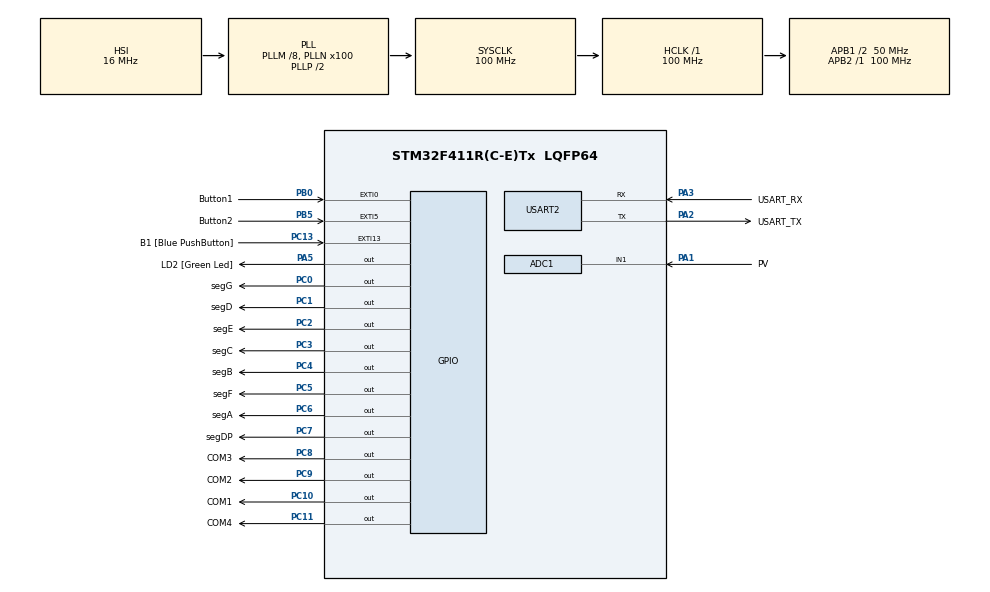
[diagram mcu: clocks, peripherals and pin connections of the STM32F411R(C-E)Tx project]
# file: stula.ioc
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ADC1.Channel-0\#ChannelRegularConversion=ADC_CHANNEL_1
ADC1.Channel-1\#ChannelRegularConversion=ADC_CHANNEL_1
ADC1.Channel-2\#ChannelRegularConversion=ADC_CHANNEL_1
ADC1.ContinuousConvMode=ENABLE
ADC1.ExternalTrigConv=ADC_EXTERNALTRIGCONV_T2_TRGO
ADC1.NbrOfConversion=3
ADC1.NbrOfConversionFlag=1
ADC1.Rank-0\#ChannelRegularConversion=1
ADC1.Rank-1\#ChannelRegularConversion=2
ADC1.Rank-2\#ChannelRegularConversion=3
ADC1.SamplingTime-0\#ChannelRegularConversion=ADC_SAMPLETIME_480CYCLES
ADC1.SamplingTime-1\#ChannelRegularConversion=ADC_SAMPLETIME_480CYCLES
ADC1.SamplingTime-2\#ChannelRegularConversion=ADC_SAMPLETIME_480CYCLES
ADC1.ScanConvMode=ENABLE
ADC1.master=1
Dma.ADC1.0.Direction=DMA_PERIPH_TO_MEMORY
Dma.ADC1.0.FIFOMode=DMA_FIFOMODE_DISABLE
Dma.ADC1.0.Instance=DMA2_Stream0
Dma.ADC1.0.MemDataAlignment=DMA_MDATAALIGN_HALFWORD
Dma.ADC1.0.MemInc=DMA_MINC_ENABLE
Dma.ADC1.0.Mode=DMA_CIRCULAR
Dma.ADC1.0.PeriphDataAlignment=DMA_PDATAALIGN_HALFWORD
Dma.ADC1.0.PeriphInc=DMA_PINC_DISABLE
Dma.ADC1.0.Priority=DMA_PRIORITY_LOW
Dma.Request0=ADC1
Mcu.Family=STM32F4
Mcu.Name=STM32F411R(C-E)Tx
Mcu.Package=LQFP64
NVIC.ADC_IRQn=true\:0\:0\:false\:false\:true\:true\:true\:true
NVIC.DMA2_Stream0_IRQn=true\:0\:0\:false\:false\:true\:false\:true\:true
NVIC.EXTI0_IRQn=true\:0\:0\:false\:false\:true\:true\:true\:true
NVIC.EXTI9_5_IRQn=true\:0\:0\:false\:false\:true\:true\:true\:true
NVIC.PriorityGroup=NVIC_PRIORITYGROUP_0
NVIC.TIM1_UP_TIM10_IRQn=true\:0\:0\:false\:false\:true\:true\:true\:true
NVIC.TIM4_IRQn=true\:0\:0\:true\:false\:true\:true\:true\:true
PA1.GPIO_Label=PV
PA1.Signal=ADCx_IN1
PA13.GPIO_Label=TMS
PA13.Mode=Serial_Wire
PA13.Signal=SYS_JTMS-SWDIO
PA14.GPIO_Label=TCK
PA14.Mode=Serial_Wire
PA14.Signal=SYS_JTCK-SWCLK
PA2.GPIO_Label=USART_TX
PA2.Mode=Asynchronous
PA2.Signal=USART2_TX
PA3.GPIO_Label=USART_RX
PA3.Mode=Asynchronous
PA3.Signal=USART2_RX
PA5.GPIO_Label=LD2 [Green Led]
PA5.Signal=GPIO_Output
PB0.GPIO_Label=Button1
PB0.GPIO_ModeDefaultEXTI=GPIO_MODE_IT_FALLING
PB0.GPIO_PuPd=GPIO_PULLUP
PB0.Signal=GPXTI0
PB3.GPIO_Label=SWO
PB3.Signal=SYS_JTDO-SWO
PB5.GPIO_Label=Button2
PB5.GPIO_ModeDefaultEXTI=GPIO_MODE_IT_FALLING
PB5.GPIO_PuPd=GPIO_PULLUP
PB5.Signal=GPXTI5
PC0.GPIO_Label=segG
PC0.Signal=GPIO_Output
PC1.GPIO_Label=segD
PC1.Signal=GPIO_Output
PC10.GPIO_Label=COM1
PC10.Signal=GPIO_Output
PC11.GPIO_Label=COM4
PC11.Signal=GPIO_Output
PC13-ANTI_TAMP.GPIO_Label=B1 [Blue PushButton]
PC13-ANTI_TAMP.GPIO_ModeDefaultEXTI=GPIO_MODE_IT_FALLING
PC13-ANTI_TAMP.Signal=GPXTI13
PC14-OSC32_IN.Mode=LSE-External-Oscillator
PC14-OSC32_IN.Signal=RCC_OSC32_IN
PC15-OSC32_OUT.Mode=LSE-External-Oscillator
PC15-OSC32_OUT.Signal=RCC_OSC32_OUT
PC2.GPIO_Label=segE
PC2.Signal=GPIO_Output
PC3.GPIO_Label=segC
PC3.Signal=GPIO_Output
PC4.GPIO_Label=segB
PC4.Signal=GPIO_Output
PC5.GPIO_Label=segF
PC5.Signal=GPIO_Output
PC6.GPIO_Label=segA
PC6.Signal=GPIO_Output
PC7.GPIO_Label=segDP
PC7.Signal=GPIO_Output
PC8.GPIO_Label=COM3
PC8.Signal=GPIO_Output
PC9.GPIO_Label=COM2
PC9.Signal=GPIO_Output
PH0\ -\ OSC_IN.Mode=HSE-External-Clock-Source
PH0\ -\ OSC_IN.Signal=RCC_OSC_IN
PH1\ -\ OSC_OUT.Mode=HSE-External-Clock-Source
PH1\ -\ OSC_OUT.Signal=RCC_OSC_OUT
ProjectManager.HeapSize=0x200
ProjectManager.StackSize=0x400
ProjectManager.TargetToolchain=STM32CubeIDE
RCC.48MHZClocksFreq_Value=50000000
RCC.AHBFreq_Value=100000000
RCC.APB1CLKDivider=RCC_HCLK_DIV2
RCC.APB1Freq_Value=50000000
RCC.APB1TimFreq_Value=100000000
RCC.APB2Freq_Value=100000000
RCC.APB2TimFreq_Value=100000000
RCC.CortexFreq_Value=100000000
RCC.FLatency-AdvancedSettings=FLASH_LATENCY_3
RCC.HCLKFreq_Value=100000000
RCC.HSE_VALUE=8000000
RCC.HSI_VALUE=16000000
RCC.PLLM=8
RCC.PLLN=100
RCC.SYSCLKFreq_VALUE=100000000
RCC.SYSCLKSource=RCC_SYSCLKSOURCE_PLLCLK
RCC.VCOOutputFreq_Value=200000000
SH.ADCx_IN1.0=ADC1_IN1,IN1
TIM1.Period=1000
TIM1.Prescaler=100
TIM2.Period=1999
TIM2.Prescaler=99
TIM2.TIM_MasterOutputTrigger=TIM_TRGO_UPDATE
TIM4.CounterMode=TIM_COUNTERMODE_UP
TIM4.Period=1999
TIM4.Prescaler=99
USART2.VirtualMode=VM_ASYNC
VP_ADC1_TempSens_Input.Mode=IN-TempSens
VP_ADC1_Vref_Input.Mode=IN-Vrefint
VP_TIM1_VS_ClockSourceINT.Mode=Internal
VP_TIM2_VS_ClockSourceINT.Mode=Internal
VP_TIM4_VS_ClockSourceINT.Mode=Internal
board=NUCLEO-F411RE

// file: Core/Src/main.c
/* USER CODE BEGIN Header */
/**
  ******************************************************************************
  * @file           : main.c
  * @brief          : Main program body
  ******************************************************************************
  * @attention
  *
  * Copyright (c) 2023 STMicroelectronics.
  * All rights reserved.
  *
  * This software is licensed under terms that can be found in the LICENSE file
  * in the root directory of this software component.
  * If no LICENSE file comes with this software, it is provided AS-IS.
  *
  ******************************************************************************
  */
/* USER CODE END Header */
#include "main.h"
#include "stdbool.h"

/* USER CODE BEGIN PM */
#define ARM_CM_DEMCR (*(uint32_t *)0xE000EDFC)
#define ARM_CM_DWT_CTRL (*(uint32_t *)0xE0001000)
#define ARM_CM_DWT_CYCCNT (*(uint32_t *)0xE0001004)
#define CPU_CLOCK_FREQ ((double)100000000)
/* USER CODE END PM */

ADC_HandleTypeDef hadc1;
DMA_HandleTypeDef hdma_adc1;

TIM_HandleTypeDef htim1;
TIM_HandleTypeDef htim2;
TIM_HandleTypeDef htim4;

UART_HandleTypeDef huart2;

void SystemClock_Config(void);
static void MX_GPIO_Init(void);
static void MX_DMA_Init(void);
static void MX_USART2_UART_Init(void);
static void MX_TIM1_Init(void);
static void MX_ADC1_Init(void);
static void MX_TIM4_Init(void);
static void MX_TIM2_Init(void);

/* USER CODE BEGIN 0 */
volatile uint32_t TimerCnt;
static uint8_t DisplayCOM = 0;
static uint8_t DisplayNumbers[4] = {-1, -1, -1, -1};
int ButtTime = 0;

uint16_t ADCDMABuff[3];
#define BUFFER_LEN (3000)
uint32_t BufferT[BUFFER_LEN];
uint16_t BufferAD[BUFFER_LEN];
uint32_t idx = 0;
uint32_t max_idx = -1;

bool IS_FULL = false;
bool READ_DATA = false;

void set_number(){
	switch(DisplayCOM){
	case 0:
		HAL_GPIO_WritePin(GPIOC, COM1_Pin, GPIO_PIN_RESET);
		HAL_GPIO_WritePin(GPIOC, COM2_Pin, GPIO_PIN_SET);
		HAL_GPIO_WritePin(GPIOC, COM3_Pin, GPIO_PIN_SET);
		HAL_GPIO_WritePin(GPIOC, COM4_Pin, GPIO_PIN_SET);
		DisplayCOM = 1;
		break;
	case 1:
		HAL_GPIO_WritePin(GPIOC, COM1_Pin, GPIO_PIN_SET);
		HAL_GPIO_WritePin(GPIOC, COM2_Pin, GPIO_PIN_RESET);
		HAL_GPIO_WritePin(GPIOC, COM3_Pin, GPIO_PIN_SET);
		HAL_GPIO_WritePin(GPIOC, COM4_Pin, GPIO_PIN_SET);
		DisplayCOM = 2;
		break;
	case 2:
		HAL_GPIO_WritePin(GPIOC, COM1_Pin, GPIO_PIN_SET);
		HAL_GPIO_WritePin(GPIOC, COM2_Pin, GPIO_PIN_SET);
		HAL_GPIO_WritePin(GPIOC, COM3_Pin, GPIO_PIN_RESET);
		HAL_GPIO_WritePin(GPIOC, COM4_Pin, GPIO_PIN_SET);
		DisplayCOM = 3;
		break;
	case 3:
		HAL_GPIO_WritePin(GPIOC, COM1_Pin, GPIO_PIN_SET);
		HAL_GPIO_WritePin(GPIOC, COM2_Pin, GPIO_PIN_SET);
		HAL_GPIO_WritePin(GPIOC, COM3_Pin, GPIO_PIN_SET);
		HAL_GPIO_WritePin(GPIOC, COM4_Pin, GPIO_PIN_RESET);
		DisplayCOM = 0;
		break;
	}

	switch(DisplayNumbers[DisplayCOM]){
	case 0:
		HAL_GPIO_WritePin(GPIOC, segA_Pin, GPIO_PIN_SET);
		HAL_GPIO_WritePin(GPIOC, segB_Pin, GPIO_PIN_SET);
		HAL_GPIO_WritePin(GPIOC, segC_Pin, GPIO_PIN_SET);
		HAL_GPIO_WritePin(GPIOC, segD_Pin, GPIO_PIN_SET);
		HAL_GPIO_WritePin(GPIOC, segE_Pin, GPIO_PIN_SET);
		HAL_GPIO_WritePin(GPIOC, segF_Pin, GPIO_PIN_SET);
		HAL_GPIO_WritePin(GPIOC, segG_Pin, GPIO_PIN_RESET);
		HAL_GPIO_WritePin(GPIOC, segDP_Pin, GPIO_PIN_RESET);
		break;
	case 1:
		HAL_GPIO_WritePin(GPIOC, segA_Pin, GPIO_PIN_RESET);
		HAL_GPIO_WritePin(GPIOC, segB_Pin, GPIO_PIN_SET);
		HAL_GPIO_WritePin(GPIOC, segC_Pin, GPIO_PIN_SET);
		HAL_GPIO_WritePin(GPIOC, segD_Pin, GPIO_PIN_RESET);
		HAL_GPIO_WritePin(GPIOC, segE_Pin, GPIO_PIN_RESET);
		HAL_GPIO_WritePin(GPIOC, segF_Pin, GPIO_PIN_RESET);
		HAL_GPIO_WritePin(GPIOC, segG_Pin, GPIO_PIN_RESET);
		HAL_GPIO_WritePin(GPIOC, segDP_Pin, GPIO_PIN_RESET);
		break;
	case 2:
		HAL_GPIO_WritePin(GPIOC, segA_Pin, GPIO_PIN_SET);
		HAL_GPIO_WritePin(GPIOC, segB_Pin, GPIO_PIN_SET);
		HAL_GPIO_WritePin(GPIOC, segC_Pin, GPIO_PIN_RESET);
		HAL_GPIO_WritePin(GPIOC, segD_Pin, GPIO_PIN_SET);
		HAL_GPIO_WritePin(GPIOC, segE_Pin, GPIO_PIN_SET);
		HAL_GPIO_WritePin(GPIOC, segF_Pin, GPIO_PIN_RESET);
		HAL_GPIO_WritePin(GPIOC, segG_Pin, GPIO_PIN_SET);
		HAL_GPIO_WritePin(GPIOC, segDP_Pin, GPIO_PIN_RESET);
		break;
	case 3:
		HAL_GPIO_WritePin(GPIOC, segA_Pin, GPIO_PIN_SET);
		HAL_GPIO_WritePin(GPIOC, segB_Pin, GPIO_PIN_SET);
		HAL_GPIO_WritePin(GPIOC, segC_Pin, GPIO_PIN_SET);
		HAL_GPIO_WritePin(GPIOC, segD_Pin, GPIO_PIN_SET);
		HAL_GPIO_WritePin(GPIOC, segE_Pin, GPIO_PIN_RESET);
		HAL_GPIO_WritePin(GPIOC, segF_Pin, GPIO_PIN_RESET);
		HAL_GPIO_WritePin(GPIOC, segG_Pin, GPIO_PIN_SET);
		HAL_GPIO_WritePin(GPIOC, segDP_Pin, GPIO_PIN_RESET);
		break;
	case 4:
		HAL_GPIO_WritePin(GPIOC, segA_Pin, GPIO_PIN_RESET);
		HAL_GPIO_WritePin(GPIOC, segB_Pin, GPIO_PIN_SET);
		HAL_GPIO_WritePin(GPIOC, segC_Pin, GPIO_PIN_SET);
		HAL_GPIO_WritePin(GPIOC, segD_Pin, GPIO_PIN_RESET);
		HAL_GPIO_WritePin(GPIOC, segE_Pin, GPIO_PIN_RESET);
		HAL_GPIO_WritePin(GPIOC, segF_Pin, GPIO_PIN_SET);
		HAL_GPIO_WritePin(GPIOC, segG_Pin, GPIO_PIN_SET);
		HAL_GPIO_WritePin(GPIOC, segDP_Pin, GPIO_PIN_RESET);
		break;
	case 5:
		HAL_GPIO_WritePin(GPIOC, segA_Pin, GPIO_PIN_SET);
		HAL_GPIO_WritePin(GPIOC, segB_Pin, GPIO_PIN_RESET);
		HAL_GPIO_WritePin(GPIOC, segC_Pin, GPIO_PIN_SET);
		HAL_GPIO_WritePin(GPIOC, segD_Pin, GPIO_PIN_SET);
		HAL_GPIO_WritePin(GPIOC, segE_Pin, GPIO_PIN_RESET);
		HAL_GPIO_WritePin(GPIOC, segF_Pin, GPIO_PIN_SET);
		HAL_GPIO_WritePin(GPIOC, segG_Pin, GPIO_PIN_SET);
		HAL_GPIO_WritePin(GPIOC, segDP_Pin, GPIO_PIN_RESET);
		break;
	case 6:
		HAL_GPIO_WritePin(GPIOC, segA_Pin, GPIO_PIN_SET);
		HAL_GPIO_WritePin(GPIOC, segB_Pin, GPIO_PIN_RESET);
		HAL_GPIO_WritePin(GPIOC, segC_Pin, GPIO_PIN_SET);
		HAL_GPIO_WritePin(GPIOC, segD_Pin, GPIO_PIN_SET);
		HAL_GPIO_WritePin(GPIOC, segE_Pin, GPIO_PIN_SET);
		HAL_GPIO_WritePin(GPIOC, segF_Pin, GPIO_PIN_SET);
		HAL_GPIO_WritePin(GPIOC, segG_Pin, GPIO_PIN_SET);
		HAL_GPIO_WritePin(GPIOC, segDP_Pin, GPIO_PIN_RESET);
		break;
	case 7:
		HAL_GPIO_WritePin(GPIOC, segA_Pin, GPIO_PIN_SET);
		HAL_GPIO_WritePin(GPIOC, segB_Pin, GPIO_PIN_SET);
		HAL_GPIO_WritePin(GPIOC, segC_Pin, GPIO_PIN_SET);
		HAL_GPIO_WritePin(GPIOC, segD_Pin, GPIO_PIN_RESET);
		HAL_GPIO_WritePin(GPIOC, segE_Pin, GPIO_PIN_RESET);
		HAL_GPIO_WritePin(GPIOC, segF_Pin, GPIO_PIN_RESET);
		HAL_GPIO_WritePin(GPIOC, segG_Pin, GPIO_PIN_RESET);
		HAL_GPIO_WritePin(GPIOC, segDP_Pin, GPIO_PIN_RESET);
		break;
	case 8:
		HAL_GPIO_WritePin(GPIOC, segA_Pin, GPIO_PIN_SET);
		HAL_GPIO_WritePin(GPIOC, segB_Pin, GPIO_PIN_SET);
		HAL_GPIO_WritePin(GPIOC, segC_Pin, GPIO_PIN_SET);
		HAL_GPIO_WritePin(GPIOC, segD_Pin, GPIO_PIN_SET);
		HAL_GPIO_WritePin(GPIOC, segE_Pin, GPIO_PIN_SET);
		HAL_GPIO_WritePin(GPIOC, segF_Pin, GPIO_PIN_SET);
		HAL_GPIO_WritePin(GPIOC, segG_Pin, GPIO_PIN_SET);
		HAL_GPIO_WritePin(GPIOC, segDP_Pin, GPIO_PIN_RESET);
		break;
	case 9:
		HAL_GPIO_WritePin(GPIOC, segA_Pin, GPIO_PIN_SET);
		HAL_GPIO_WritePin(GPIOC, segB_Pin, GPIO_PIN_SET);
		HAL_GPIO_WritePin(GPIOC, segC_Pin, GPIO_PIN_SET);
		HAL_GPIO_WritePin(GPIOC, segD_Pin, GPIO_PIN_SET);
		HAL_GPIO_WritePin(GPIOC, segE_Pin, GPIO_PIN_RESET);
		HAL_GPIO_WritePin(GPIOC, segF_Pin, GPIO_PIN_SET);
		HAL_GPIO_WritePin(GPIOC, segG_Pin, GPIO_PIN_SET);
		HAL_GPIO_WritePin(GPIOC, segDP_Pin, GPIO_PIN_RESET);
		break;
	default:
		HAL_GPIO_WritePin(GPIOC, segA_Pin, GPIO_PIN_RESET);
		HAL_GPIO_WritePin(GPIOC, segB_Pin, GPIO_PIN_RESET);
		HAL_GPIO_WritePin(GPIOC, segC_Pin, GPIO_PIN_RESET);
		HAL_GPIO_WritePin(GPIOC, segD_Pin, GPIO_PIN_RESET);
		HAL_GPIO_WritePin(GPIOC, segE_Pin, GPIO_PIN_RESET);
		HAL_GPIO_WritePin(GPIOC, segF_Pin, GPIO_PIN_RESET);
		HAL_GPIO_WritePin(GPIOC, segG_Pin, GPIO_PIN_RESET);
		HAL_GPIO_WritePin(GPIOC, segDP_Pin, GPIO_PIN_RESET);
	}
}

void display(uint8_t tab[]){
	DisplayCOM = 0;
	for (int i=0; i < 4; i++){
		DisplayNumbers[i] = tab[i];
	}

}

void display_int(int num){
	uint8_t tab [4];
	for (int i=3; i>=0; i--){
		tab[i] = num % 10;
		num = num / 10;
	}
	display(tab);
}

void HAL_TIM_PeriodElapsedCallback(TIM_HandleTypeDef *htim){

	if( htim == &htim1 ){
		set_number();
	}
	else if( htim == &htim4 ) {
		if (TimerCnt >= 100){

			if (READ_DATA){
				display_int(BufferAD[idx-1]);
			}
			else{
				uint8_t tab[4] = {-1, -1, -1, -1};
				(display(tab));
			}

			TimerCnt = 0;
		}
		else
			TimerCnt++;
	}
}

void button_click(uint8_t button_number){
	int tick = HAL_GetTick();
	if (tick-ButtTime > 200){
		ButtTime = tick;
		if (button_number == 0){
			if (DisplayNumbers[1] == 9){
				DisplayNumbers[0]++;
				DisplayNumbers[1] = 0;
			}
			else{
				DisplayNumbers[1]++;
			}
		}
		else {
			if (DisplayNumbers[3] == 9){
				DisplayNumbers[2]++;
				DisplayNumbers[3] = 0;
			}
			else{
				DisplayNumbers[3]++;
			}
		}
	}
}

void HAL_GPIO_EXTI_Callback(uint16_t GPIO_Pin){
	if(GPIO_Pin == Button1_Pin){
		READ_DATA = true;
		idx = 0;
//		button_click(0);
//		//printf("button1\r\n");
	}
	if(GPIO_Pin == Button2_Pin){
		READ_DATA = false;
		max_idx = idx;
		IS_FULL = true;
//		button_click(1);
//		//printf("button2\r\n");
	}
}

void HAL_ADC_ConvCpltCallback(ADC_HandleTypeDef* hadc) {
	if (READ_DATA){
		int WYNIK_ADC = HAL_ADC_GetValue(&hadc1);
		int ADCRes = (uint16_t)(3.3 * (double)WYNIK_ADC / 4.095); // [mV]
		//display_int(ADCRes);

		BufferT[idx] = ARM_CM_DWT_CYCCNT;
		BufferAD[idx] = ADCRes;

		idx++;
		if (idx == BUFFER_LEN-1){
			IS_FULL = 1;
			max_idx = idx;
			READ_DATA = false;
		}
	}
}

int __io_putchar(int ch) {
	HAL_UART_Transmit(&huart2, (uint8_t *)&ch, 1, 0xFFFF);
	return ch;
}

/* USER CODE END 0 */

int main(void)
{

  /* MCU Configuration--------------------------------------------------------*/

  /* Reset of all peripherals, Initializes the Flash interface and the Systick. */
  HAL_Init();

  /* USER CODE BEGIN Init */
  if (ARM_CM_DWT_CTRL != 0) { // See if DWT is available
	  ARM_CM_DEMCR |= 1 << 24; // Set bit 24
	  ARM_CM_DWT_CYCCNT = 0;
	  ARM_CM_DWT_CTRL |= 1 << 0; // Set bit 0
  }
  /* USER CODE END Init */

  /* Configure the system clock */
  SystemClock_Config();

  /* Initialize all configured peripherals */
  MX_GPIO_Init();
  MX_DMA_Init();
  MX_USART2_UART_Init();
  MX_TIM1_Init();
  MX_ADC1_Init();
  MX_TIM4_Init();
  MX_TIM2_Init();
  /* USER CODE BEGIN 2 */
  HAL_TIM_Base_Start_IT(&htim1);
  //HAL_TIM_Base_Start(&htim2);
  HAL_TIM_Base_Start_IT(&htim4);
  //HAL_ADC_Start_IT(&hadc1);
  HAL_ADC_Start_DMA(&hadc1, (uint32_t *)ADCDMABuff, 3);
  /* USER CODE END 2 */

  /* Infinite loop */
  while (1)
  {

    /* USER CODE BEGIN 3 */

//	  if (IS_FULL){
//		  for (int i = 0; i < BUFFER_LEN; i++){
//				printf("%li %i, \r\n", BufferT[i], BufferAD[i]);
//		  }
//		  IS_FULL = false;
//	  }
	  if (IS_FULL){
		  for (int i = 0; i < max_idx; i++){
				printf("%li %i, \r\n", BufferT[i], BufferAD[i]);
		  }
		  IS_FULL = false;
		  max_idx = -1;
	  }
//	  int Start = ARM_CM_DWT_CYCCNT;
//	  HAL_Delay(1000);
//	  int Stop = ARM_CM_DWT_CYCCNT;
//	  printf("HAL_Delay(1000): %d [us]\r\n", (unsigned)(1e6*((double)Stop-(double)Start)/CPU_CLOCK_FREQ) );
  }
  /* USER CODE END 3 */
}

void SystemClock_Config(void)
{
  RCC_OscInitTypeDef RCC_OscInitStruct = {0};
  RCC_ClkInitTypeDef RCC_ClkInitStruct = {0};

  /** Configure the main internal regulator output voltage
  */
  __HAL_RCC_PWR_CLK_ENABLE();
  __HAL_PWR_VOLTAGESCALING_CONFIG(PWR_REGULATOR_VOLTAGE_SCALE1);

  /** Initializes the RCC Oscillators according to the specified parameters
  * in the RCC_OscInitTypeDef structure.
  */
  RCC_OscInitStruct.OscillatorType = RCC_OSCILLATORTYPE_HSI;
  RCC_OscInitStruct.HSIState = RCC_HSI_ON;
  RCC_OscInitStruct.HSICalibrationValue = RCC_HSICALIBRATION_DEFAULT;
  RCC_OscInitStruct.PLL.PLLState = RCC_PLL_ON;
  RCC_OscInitStruct.PLL.PLLSource = RCC_PLLSOURCE_HSI;
  RCC_OscInitStruct.PLL.PLLM = 8;
  RCC_OscInitStruct.PLL.PLLN = 100;
  RCC_OscInitStruct.PLL.PLLP = RCC_PLLP_DIV2;
  RCC_OscInitStruct.PLL.PLLQ = 4;
  if (HAL_RCC_OscConfig(&RCC_OscInitStruct) != HAL_OK)
  {
    Error_Handler();
  }

  /** Initializes the CPU, AHB and APB buses clocks
  */
  RCC_ClkInitStruct.ClockType = RCC_CLOCKTYPE_HCLK|RCC_CLOCKTYPE_SYSCLK
                              |RCC_CLOCKTYPE_PCLK1|RCC_CLOCKTYPE_PCLK2;
  RCC_ClkInitStruct.SYSCLKSource = RCC_SYSCLKSOURCE_PLLCLK;
  RCC_ClkInitStruct.AHBCLKDivider = RCC_SYSCLK_DIV1;
  RCC_ClkInitStruct.APB1CLKDivider = RCC_HCLK_DIV2;
  RCC_ClkInitStruct.APB2CLKDivider = RCC_HCLK_DIV1;

  if (HAL_RCC_ClockConfig(&RCC_ClkInitStruct, FLASH_LATENCY_3) != HAL_OK)
  {
    Error_Handler();
  }
}

static void MX_ADC1_Init(void)
{

  ADC_ChannelConfTypeDef sConfig = {0};

  /** Configure the global features of the ADC (Clock, Resolution, Data Alignment and number of conversion)
  */
  hadc1.Instance = ADC1;
  hadc1.Init.ClockPrescaler = ADC_CLOCK_SYNC_PCLK_DIV4;
  hadc1.Init.Resolution = ADC_RESOLUTION_12B;
  hadc1.Init.ScanConvMode = ENABLE;
  hadc1.Init.ContinuousConvMode = ENABLE;
  hadc1.Init.DiscontinuousConvMode = DISABLE;
  hadc1.Init.ExternalTrigConvEdge = ADC_EXTERNALTRIGCONVEDGE_RISING;
  hadc1.Init.ExternalTrigConv = ADC_EXTERNALTRIGCONV_T2_TRGO;
  hadc1.Init.DataAlign = ADC_DATAALIGN_RIGHT;
  hadc1.Init.NbrOfConversion = 3;
  hadc1.Init.DMAContinuousRequests = DISABLE;
  hadc1.Init.EOCSelection = ADC_EOC_SINGLE_CONV;
  if (HAL_ADC_Init(&hadc1) != HAL_OK)
  {
    Error_Handler();
  }

  /** Configure for the selected ADC regular channel its corresponding rank in the sequencer and its sample time.
  */
  sConfig.Channel = ADC_CHANNEL_1;
  sConfig.Rank = 1;
  sConfig.SamplingTime = ADC_SAMPLETIME_480CYCLES;
  if (HAL_ADC_ConfigChannel(&hadc1, &sConfig) != HAL_OK)
  {
    Error_Handler();
  }

  /** Configure for the selected ADC regular channel its corresponding rank in the sequencer and its sample time.
  */
  sConfig.Rank = 2;
  if (HAL_ADC_ConfigChannel(&hadc1, &sConfig) != HAL_OK)
  {
    Error_Handler();
  }

  /** Configure for the selected ADC regular channel its corresponding rank in the sequencer and its sample time.
  */
  sConfig.Rank = 3;
  if (HAL_ADC_ConfigChannel(&hadc1, &sConfig) != HAL_OK)
  {
    Error_Handler();
  }

}

static void MX_TIM1_Init(void)
{

  TIM_ClockConfigTypeDef sClockSourceConfig = {0};
  TIM_MasterConfigTypeDef sMasterConfig = {0};

  htim1.Instance = TIM1;
  htim1.Init.Prescaler = 100;
  htim1.Init.CounterMode = TIM_COUNTERMODE_UP;
  htim1.Init.Period = 1000;
  htim1.Init.ClockDivision = TIM_CLOCKDIVISION_DIV1;
  htim1.Init.RepetitionCounter = 0;
  htim1.Init.AutoReloadPreload = TIM_AUTORELOAD_PRELOAD_DISABLE;
  if (HAL_TIM_Base_Init(&htim1) != HAL_OK)
  {
    Error_Handler();
  }
  sClockSourceConfig.ClockSource = TIM_CLOCKSOURCE_INTERNAL;
  if (HAL_TIM_ConfigClockSource(&htim1, &sClockSourceConfig) != HAL_OK)
  {
    Error_Handler();
  }
  sMasterConfig.MasterOutputTrigger = TIM_TRGO_RESET;
  sMasterConfig.MasterSlaveMode = TIM_MASTERSLAVEMODE_DISABLE;
  if (HAL_TIMEx_MasterConfigSynchronization(&htim1, &sMasterConfig) != HAL_OK)
  {
    Error_Handler();
  }

}

static void MX_TIM2_Init(void)
{

  TIM_ClockConfigTypeDef sClockSourceConfig = {0};
  TIM_MasterConfigTypeDef sMasterConfig = {0};

  htim2.Instance = TIM2;
  htim2.Init.Prescaler = 99;
  htim2.Init.CounterMode = TIM_COUNTERMODE_UP;
  htim2.Init.Period = 1999;
  htim2.Init.ClockDivision = TIM_CLOCKDIVISION_DIV1;
  htim2.Init.AutoReloadPreload = TIM_AUTORELOAD_PRELOAD_DISABLE;
  if (HAL_TIM_Base_Init(&htim2) != HAL_OK)
  {
    Error_Handler();
  }
  sClockSourceConfig.ClockSource = TIM_CLOCKSOURCE_INTERNAL;
  if (HAL_TIM_ConfigClockSource(&htim2, &sClockSourceConfig) != HAL_OK)
  {
    Error_Handler();
  }
  sMasterConfig.MasterOutputTrigger = TIM_TRGO_UPDATE;
  sMasterConfig.MasterSlaveMode = TIM_MASTERSLAVEMODE_DISABLE;
  if (HAL_TIMEx_MasterConfigSynchronization(&htim2, &sMasterConfig) != HAL_OK)
  {
    Error_Handler();
  }

}

static void MX_TIM4_Init(void)
{

  TIM_ClockConfigTypeDef sClockSourceConfig = {0};
  TIM_MasterConfigTypeDef sMasterConfig = {0};

  htim4.Instance = TIM4;
  htim4.Init.Prescaler = 99;
  htim4.Init.CounterMode = TIM_COUNTERMODE_UP;
  htim4.Init.Period = 1999;
  htim4.Init.ClockDivision = TIM_CLOCKDIVISION_DIV1;
  htim4.Init.AutoReloadPreload = TIM_AUTORELOAD_PRELOAD_DISABLE;
  if (HAL_TIM_Base_Init(&htim4) != HAL_OK)
  {
    Error_Handler();
  }
  sClockSourceConfig.ClockSource = TIM_CLOCKSOURCE_INTERNAL;
  if (HAL_TIM_ConfigClockSource(&htim4, &sClockSourceConfig) != HAL_OK)
  {
    Error_Handler();
  }
  sMasterConfig.MasterOutputTrigger = TIM_TRGO_RESET;
  sMasterConfig.MasterSlaveMode = TIM_MASTERSLAVEMODE_DISABLE;
  if (HAL_TIMEx_MasterConfigSynchronization(&htim4, &sMasterConfig) != HAL_OK)
  {
    Error_Handler();
  }

}

static void MX_USART2_UART_Init(void)
{

  huart2.Instance = USART2;
  huart2.Init.BaudRate = 115200;
  huart2.Init.WordLength = UART_WORDLENGTH_8B;
  huart2.Init.StopBits = UART_STOPBITS_1;
  huart2.Init.Parity = UART_PARITY_NONE;
  huart2.Init.Mode = UART_MODE_TX_RX;
  huart2.Init.HwFlowCtl = UART_HWCONTROL_NONE;
  huart2.Init.OverSampling = UART_OVERSAMPLING_16;
  if (HAL_UART_Init(&huart2) != HAL_OK)
  {
    Error_Handler();
  }

}

static void MX_DMA_Init(void)
{

  /* DMA controller clock enable */
  __HAL_RCC_DMA2_CLK_ENABLE();

  /* DMA interrupt init */
  /* DMA2_Stream0_IRQn interrupt configuration */
  HAL_NVIC_SetPriority(DMA2_Stream0_IRQn, 0, 0);
  HAL_NVIC_EnableIRQ(DMA2_Stream0_IRQn);

}

static void MX_GPIO_Init(void)
{
  GPIO_InitTypeDef GPIO_InitStruct = {0};

  /* GPIO Ports Clock Enable */
  __HAL_RCC_GPIOC_CLK_ENABLE();
  __HAL_RCC_GPIOH_CLK_ENABLE();
  __HAL_RCC_GPIOA_CLK_ENABLE();
  __HAL_RCC_GPIOB_CLK_ENABLE();

  /*Configure GPIO pin Output Level */
  HAL_GPIO_WritePin(GPIOC, segG_Pin|segD_Pin|segE_Pin|segC_Pin
                          |segB_Pin|segF_Pin|segA_Pin|segDP_Pin
                          |COM3_Pin|COM2_Pin|COM1_Pin|COM4_Pin, GPIO_PIN_RESET);

  /*Configure GPIO pin Output Level */
  HAL_GPIO_WritePin(LD2_GPIO_Port, LD2_Pin, GPIO_PIN_RESET);

  /*Configure GPIO pin : B1_Pin */
  GPIO_InitStruct.Pin = B1_Pin;
  GPIO_InitStruct.Mode = GPIO_MODE_IT_FALLING;
  GPIO_InitStruct.Pull = GPIO_NOPULL;
  HAL_GPIO_Init(B1_GPIO_Port, &GPIO_InitStruct);

  /*Configure GPIO pins : segG_Pin segD_Pin segE_Pin segC_Pin
                           segB_Pin segF_Pin segA_Pin segDP_Pin
                           COM3_Pin COM2_Pin COM1_Pin COM4_Pin */
  GPIO_InitStruct.Pin = segG_Pin|segD_Pin|segE_Pin|segC_Pin
                          |segB_Pin|segF_Pin|segA_Pin|segDP_Pin
                          |COM3_Pin|COM2_Pin|COM1_Pin|COM4_Pin;
  GPIO_InitStruct.Mode = GPIO_MODE_OUTPUT_PP;
  GPIO_InitStruct.Pull = GPIO_NOPULL;
  GPIO_InitStruct.Speed = GPIO_SPEED_FREQ_LOW;
  HAL_GPIO_Init(GPIOC, &GPIO_InitStruct);

  /*Configure GPIO pin : LD2_Pin */
  GPIO_InitStruct.Pin = LD2_Pin;
  GPIO_InitStruct.Mode = GPIO_MODE_OUTPUT_PP;
  GPIO_InitStruct.Pull = GPIO_NOPULL;
  GPIO_InitStruct.Speed = GPIO_SPEED_FREQ_LOW;
  HAL_GPIO_Init(LD2_GPIO_Port, &GPIO_InitStruct);

  /*Configure GPIO pins : Button1_Pin Button2_Pin */
  GPIO_InitStruct.Pin = Button1_Pin|Button2_Pin;
  GPIO_InitStruct.Mode = GPIO_MODE_IT_FALLING;
  GPIO_InitStruct.Pull = GPIO_PULLUP;
  HAL_GPIO_Init(GPIOB, &GPIO_InitStruct);

  /* EXTI interrupt init*/
  HAL_NVIC_SetPriority(EXTI0_IRQn, 0, 0);
  HAL_NVIC_EnableIRQ(EXTI0_IRQn);

  HAL_NVIC_SetPriority(EXTI9_5_IRQn, 0, 0);
  HAL_NVIC_EnableIRQ(EXTI9_5_IRQn);

}

void Error_Handler(void)
{
  __disable_irq();
  while (1)
  {
  }
}
